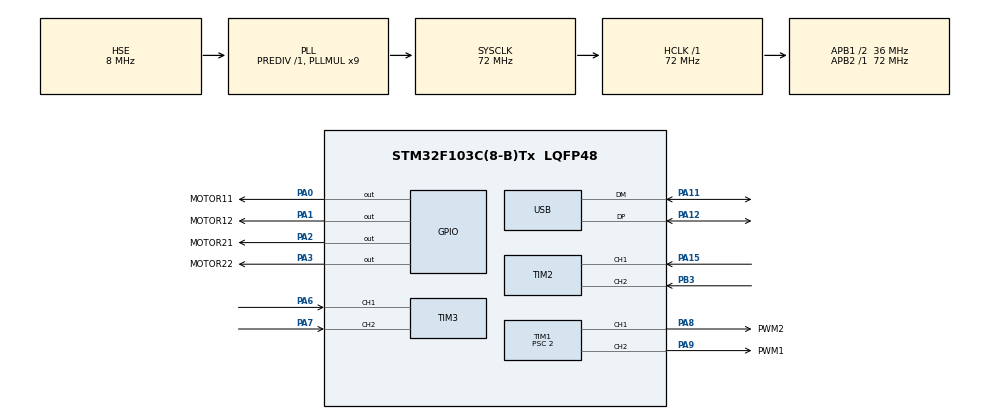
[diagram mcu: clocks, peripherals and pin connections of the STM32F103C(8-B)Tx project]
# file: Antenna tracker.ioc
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Mcu.Family=STM32F1
Mcu.Name=STM32F103C(8-B)Tx
Mcu.Package=LQFP48
NVIC.PriorityGroup=NVIC_PRIORITYGROUP_4
NVIC.RCC_IRQn=true\:0\:0\:false\:false\:true\:true\:false
NVIC.USB_LP_CAN1_RX0_IRQn=true\:0\:0\:false\:false\:true\:false\:true
PA0-WKUP.GPIO_Label=MOTOR11
PA0-WKUP.Signal=GPIO_Output
PA1.GPIO_Label=MOTOR12
PA1.Signal=GPIO_Output
PA11.Mode=Device
PA11.Signal=USB_DM
PA12.Mode=Device
PA12.Signal=USB_DP
PA13.Mode=Serial_Wire
PA13.Signal=SYS_JTMS-SWDIO
PA14.Mode=Serial_Wire
PA14.Signal=SYS_JTCK-SWCLK
PA15.Signal=S_TIM2_CH1_ETR
PA2.GPIO_Label=MOTOR21
PA2.Signal=GPIO_Output
PA3.GPIO_Label=MOTOR22
PA3.Signal=GPIO_Output
PA6.Signal=S_TIM3_CH1
PA7.Signal=S_TIM3_CH2
PA8.GPIO_Label=PWM2
PA8.Signal=S_TIM1_CH1
PA9.GPIO_Label=PWM1
PA9.Signal=S_TIM1_CH2
PB3.Signal=S_TIM2_CH2
PC14-OSC32_IN.Mode=LSE-External-Oscillator
PC14-OSC32_IN.Signal=RCC_OSC32_IN
PC15-OSC32_OUT.Mode=LSE-External-Oscillator
PC15-OSC32_OUT.Signal=RCC_OSC32_OUT
PD0-OSC_IN.Mode=HSE-External-Oscillator
PD0-OSC_IN.Signal=RCC_OSC_IN
PD1-OSC_OUT.Mode=HSE-External-Oscillator
PD1-OSC_OUT.Signal=RCC_OSC_OUT
ProjectManager.HeapSize=0x200
ProjectManager.StackSize=0x400
ProjectManager.TargetToolchain=STM32CubeIDE
RCC.AHBFreq_Value=72000000
RCC.APB1CLKDivider=RCC_HCLK_DIV2
RCC.APB1Freq_Value=36000000
RCC.APB1TimFreq_Value=72000000
RCC.APB2Freq_Value=72000000
RCC.APB2TimFreq_Value=72000000
RCC.HCLKFreq_Value=72000000
RCC.PLLMUL=RCC_PLL_MUL9
RCC.SYSCLKFreq_VALUE=72000000
RCC.SYSCLKSource=RCC_SYSCLKSOURCE_PLLCLK
RCC.USBFreq_Value=48000000
RCC.USBPrescaler=RCC_USBCLKSOURCE_PLL_DIV1_5
SH.S_TIM1_CH1.0=TIM1_CH1,PWM Generation1 CH1
SH.S_TIM1_CH2.0=TIM1_CH2,PWM Generation2 CH2
SH.S_TIM2_CH1_ETR.0=TIM2_CH1,Encoder_Interface
SH.S_TIM2_CH2.0=TIM2_CH2,Encoder_Interface
SH.S_TIM3_CH1.0=TIM3_CH1,Encoder_Interface
SH.S_TIM3_CH2.0=TIM3_CH2,Encoder_Interface
TIM1.Channel-PWM\ Generation1\ CH1=TIM_CHANNEL_1
TIM1.Channel-PWM\ Generation2\ CH2=TIM_CHANNEL_2
TIM1.Period=1000
TIM1.Prescaler=2
TIM2.AutoReloadPreload=TIM_AUTORELOAD_PRELOAD_DISABLE
TIM2.EncoderMode=TIM_ENCODERMODE_TI12
USB_DEVICE.CLASS_NAME_FS=CDC
USB_DEVICE.VirtualMode=Cdc
USB_DEVICE.VirtualModeFS=Cdc_FS
VP_TIM1_VS_ClockSourceINT.Mode=Internal
VP_USB_DEVICE_VS_USB_DEVICE_CDC_FS.Mode=CDC_FS
board=custom

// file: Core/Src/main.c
/* USER CODE BEGIN Header */
/**
  ******************************************************************************
  * @file           : main.c
  * @brief          : Main program body
  ******************************************************************************
  * @attention
  *
  * <h2><center>&copy; Copyright (c) 2020 STMicroelectronics.
  * All rights reserved.</center></h2>
  *
  * This software component is licensed by ST under BSD 3-Clause license,
  * the "License"; You may not use this file except in compliance with the
  * License. You may obtain a copy of the License at:
  *                        opensource.org/licenses/BSD-3-Clause
  *
  ******************************************************************************
  */
/* USER CODE END Header */

#include "main.h"
#include "tim.h"
#include "usb_device.h"
#include "gpio.h"

/* USER CODE BEGIN Includes */
#include "pid.h"
#include <math.h>

/* USER CODE END Includes */

/* USER CODE BEGIN PV */
uint8_t DataToSend[100]; // Tablica zawierajaca dane do wyslania
uint8_t MessageCounter = 0; // Licznik wyslanych wiadomosci
uint8_t MessageLength = 0; // Zawiera dlugosc wysylanej wiadomosci
uint8_t ReceivedData[100]; // Tablica przechowujaca odebrane dane
uint8_t ReceivedDataFlag = 0; // Flaga informujaca o odebraniu danych

volatile uint16_t pulse_count_azimuth; // Licznik impulsow
volatile uint16_t positions_azimuth; // Licznik przekreconych pozycji

volatile uint16_t pulse_count_height; // Licznik impulsow
volatile uint16_t positions_height; // Licznik przekreconych pozycji

cpid_t pid_azimuth;
cpid_t pid_height;
/* USER CODE END PV */

void SystemClock_Config(void);
/* USER CODE BEGIN PFP */

int _write(int file, char *ptr, int len){
    //HAL_UART_Transmit(&huart2, (uint8_t*)ptr, len, 50);
    CDC_Transmit_FS((uint8_t*)ptr, len);
    return len;
}

void parse(){
  	char header[1];
  	int32_t PWM1, PWM2, DIR1, DIR2;

  	sscanf(ReceivedData, "%s %d %d %d %d", &header, &PWM1, &PWM2, &DIR1, &DIR2);
  	if( header[0] == 'S' && PWM1 >= 0 && PWM1 < 65535 && PWM2 >= 0 && PWM2 < 65535 && (DIR1 == 1 || DIR1 == 0) && (DIR2 == 1 || DIR2 == 0) )
  	{
  		send_json(PWM1, PWM2);
  		__HAL_TIM_SET_COMPARE(&htim1, TIM_CHANNEL_1, PWM1 );
  		__HAL_TIM_SET_COMPARE(&htim1, TIM_CHANNEL_2, PWM2 );

  		if(DIR1 == 1){
  			HAL_GPIO_WritePin(MOTOR11_GPIO_Port, MOTOR11_Pin, GPIO_PIN_SET);
  			HAL_GPIO_WritePin(MOTOR12_GPIO_Port, MOTOR12_Pin, GPIO_PIN_RESET);
  		}

  		if(DIR1 == 0){
  			HAL_GPIO_WritePin(MOTOR11_GPIO_Port, MOTOR11_Pin, GPIO_PIN_RESET);
  			HAL_GPIO_WritePin(MOTOR12_GPIO_Port, MOTOR12_Pin, GPIO_PIN_SET);
  		}

  		if(DIR2 == 1){
  			HAL_GPIO_WritePin(MOTOR21_GPIO_Port, MOTOR21_Pin, GPIO_PIN_SET);
  			HAL_GPIO_WritePin(MOTOR22_GPIO_Port, MOTOR22_Pin, GPIO_PIN_RESET);
  		}

  		if(DIR2 == 0){
  			HAL_GPIO_WritePin(MOTOR21_GPIO_Port, MOTOR21_Pin, GPIO_PIN_RESET);
  			HAL_GPIO_WritePin(MOTOR22_GPIO_Port, MOTOR22_Pin, GPIO_PIN_SET);
  		}

  		if( PWM1 == 0 && PWM2 ==0 ){
  			HAL_GPIO_WritePin(MOTOR11_GPIO_Port, MOTOR11_Pin, GPIO_PIN_RESET);
  			HAL_GPIO_WritePin(MOTOR12_GPIO_Port, MOTOR12_Pin, GPIO_PIN_RESET);
  			HAL_GPIO_WritePin(MOTOR21_GPIO_Port, MOTOR21_Pin, GPIO_PIN_RESET);
  			HAL_GPIO_WritePin(MOTOR22_GPIO_Port, MOTOR22_Pin, GPIO_PIN_RESET);
  		}
  		send_json(PWM1, PWM2);

//	  	sprintf(DataToSend, "%d %d %d %d \r\n", PWM1, PWM2, DIR1, DIR2);
//	  	printf(DataToSend);
  	}else printf("error - zle dane \r\n");
}

void send_json(int32_t Encoder1, int32_t Encoder2){
	printf("{\"enkoder1\":%d,\"enkoder2\":%d}\r\n", Encoder1, Encoder2);
}

void send_json_ada(double azimuth, double altitude, double distance){
	printf("{\"azimuth\":%f,\"altitude\":%f,\"distance\":%f}\r\n", azimuth, altitude, distance);
}

void calc_azimuth(double Latitude1, double Longitude1, double Height1, double Latitude2, double Longitude2, double Height2, double *azimuth, double *distance, double *altitude){ //Latitude = φ Longitude = λ
	double delta_Latitude = Latitude2 - Latitude1;
	double delta_Longitude = Longitude2 - Longitude1;
	double delta_Height = Height2 - Height1;

	//θ = atan2 [(sin Δλ * cos φ₂), (cos φ�? * sin φ₂ �?� sin φ�? * cos φ₂ *  cos Δλ)]
	*azimuth = atan2( ( sin(delta_Longitude) * cos(Latitude2) ) , ( (cos(Latitude1) * sin(Latitude2)) - (sin(Latitude1) * cos(Latitude2) * cos(delta_Longitude)) ) ) * (180/ M_PI );
	//Haversine formula:
	//a = sin²(Δφ/2) + cos φ�? * cos φ₂ * sin²(Δλ/2)
	double a = pow( sin(delta_Latitude/2), 2.0 ) + cos(Latitude1) * cos(Latitude2) * pow(sin(delta_Longitude/2), 2.0);
	//c = 2 * atan2 [�?�a, �?�(1�?�a)]
	double c = 2.0 * atan2( sqrt(a), sqrt(1.0-a));
	//d = R * c, R = 6371 km - radius of the Earth
	double sphere_distance = 6371.0 * c; // in km

	*distance = sqrt( pow(sphere_distance, 2.0) + pow(delta_Height, 2.0));// in km
	*altitude = acos(sphere_distance/ *distance) * (180/M_PI);
}

void parse_loc(){
  	char header[1];
  	double Latitude1, Longitude1, Height1, Latitude2, Longitude2, Height2, azimuth, distance, altitude;

  	sscanf(ReceivedData, "%s %lf %lf %lf %lf %lf %lf", &header, &Latitude1, &Longitude1, &Height1, &Latitude2, &Longitude2, &Height2);
  	if( header[0] == 'G' )
  	{
  		//calc_azimuth( Latitude1,  Longitude1,  Height1,  Latitude2,  Longitude2,  Height2,  &azimuth,  &distance,  &altitude);
  		send_json_ada( azimuth, altitude, distance);

  	}else printf("error - zle dane \r\n");
}

/* USER CODE END PFP */

int main(void)
{

  /* MCU Configuration--------------------------------------------------------*/

  /* Reset of all peripherals, Initializes the Flash interface and the Systick. */
  HAL_Init();

  /* Configure the system clock */
  SystemClock_Config();

  /* Initialize all configured peripherals */
  MX_GPIO_Init();
  MX_TIM1_Init();
  MX_TIM2_Init();
  MX_TIM3_Init();
  MX_USB_DEVICE_Init();
  /* USER CODE BEGIN 2 */
  HAL_TIMEx_PWMN_Start(&htim1, TIM_CHANNEL_1);
  HAL_TIMEx_PWMN_Start(&htim1, TIM_CHANNEL_2);

  HAL_TIM_Encoder_Start(&htim2, TIM_CHANNEL_ALL);
  HAL_TIM_Encoder_Start(&htim3, TIM_CHANNEL_ALL);

  pid_init(&pid_azimuth, 150.0f, 50.0f, 0.005f, 10, 1);
  pid_azimuth.p_max = pid_scale(&pid_azimuth, 4095);
  pid_azimuth.p_min = pid_scale(&pid_azimuth, -4095);
  pid_azimuth.i_max = pid_scale(&pid_azimuth, 4095);
  pid_azimuth.i_min = pid_scale(&pid_azimuth, -4095);
  pid_azimuth.d_max = pid_scale(&pid_azimuth, 4095);
  pid_azimuth.d_min = pid_scale(&pid_azimuth, -4095);
  pid_azimuth.total_max = pid_scale(&pid_azimuth, 4095);
  pid_azimuth.total_min = pid_scale(&pid_azimuth, 0);

  pid_init(&pid_height, 150.0f, 50.0f, 0.005f, 10, 1);
  pid_height.p_max = pid_scale(&pid_height, 4095);
  pid_height.p_min = pid_scale(&pid_height, -4095);
  pid_height.i_max = pid_scale(&pid_height, 4095);
  pid_height.i_min = pid_scale(&pid_height, -4095);
  pid_height.d_max = pid_scale(&pid_height, 4095);
  pid_height.d_min = pid_scale(&pid_height, -4095);
  pid_height.total_max = pid_scale(&pid_height, 4095);
  pid_height.total_min = pid_scale(&pid_height, 0);

  //pwm_control = pid_calc(&pid, adc_value, pwm_value);

  /* USER CODE END 2 */

  /* Infinite loop */
  /* USER CODE BEGIN WHILE */
  __HAL_TIM_SET_COMPARE(&htim1, TIM_CHANNEL_1, 0);
    HAL_TIM_PWM_Start(&htim1, TIM_CHANNEL_1);

    __HAL_TIM_SET_COMPARE(&htim1, TIM_CHANNEL_2, 0);
      HAL_TIM_PWM_Start(&htim1, TIM_CHANNEL_2);

		HAL_GPIO_WritePin(MOTOR11_GPIO_Port, MOTOR11_Pin, GPIO_PIN_RESET);
		HAL_GPIO_WritePin(MOTOR12_GPIO_Port, MOTOR12_Pin, GPIO_PIN_RESET);
		HAL_GPIO_WritePin(MOTOR21_GPIO_Port, MOTOR21_Pin, GPIO_PIN_RESET);
		HAL_GPIO_WritePin(MOTOR22_GPIO_Port, MOTOR22_Pin, GPIO_PIN_RESET);
  while (1)
  {

		pulse_count_azimuth = TIM2->CNT; // przepisanie wartosci z rejestru timera
		positions_azimuth = pulse_count_azimuth/4;

		pulse_count_height = TIM2->CNT; // przepisanie wartosci z rejestru timera
		positions_height = pulse_count_height/4;

	  if(ReceivedDataFlag == 1){
	  	ReceivedDataFlag = 0;
	  	//parse();
	  	parse_loc();
	  }

//	  __HAL_TIM_SET_COMPARE(&htim1, TIM_CHANNEL_1, 65000);
//	  __HAL_TIM_SET_COMPARE(&htim1, TIM_CHANNEL_2, 65000);
//	  HAL_Delay(1000);
//	  __HAL_TIM_SET_COMPARE(&htim1, TIM_CHANNEL_1, 0);
//	  __HAL_TIM_SET_COMPARE(&htim1, TIM_CHANNEL_2, 0);
//	  HAL_Delay(1000);
    /* USER CODE END WHILE */

    /* USER CODE BEGIN 3 */
	  HAL_Delay(100);
  }
  /* USER CODE END 3 */
}

void SystemClock_Config(void)
{
  RCC_OscInitTypeDef RCC_OscInitStruct = {0};
  RCC_ClkInitTypeDef RCC_ClkInitStruct = {0};
  RCC_PeriphCLKInitTypeDef PeriphClkInit = {0};

  /** Initializes the CPU, AHB and APB busses clocks
  */
  RCC_OscInitStruct.OscillatorType = RCC_OSCILLATORTYPE_HSE;
  RCC_OscInitStruct.HSEState = RCC_HSE_ON;
  RCC_OscInitStruct.HSEPredivValue = RCC_HSE_PREDIV_DIV1;
  RCC_OscInitStruct.HSIState = RCC_HSI_ON;
  RCC_OscInitStruct.PLL.PLLState = RCC_PLL_ON;
  RCC_OscInitStruct.PLL.PLLSource = RCC_PLLSOURCE_HSE;
  RCC_OscInitStruct.PLL.PLLMUL = RCC_PLL_MUL9;
  if (HAL_RCC_OscConfig(&RCC_OscInitStruct) != HAL_OK)
  {
    Error_Handler();
  }
  /** Initializes the CPU, AHB and APB busses clocks
  */
  RCC_ClkInitStruct.ClockType = RCC_CLOCKTYPE_HCLK|RCC_CLOCKTYPE_SYSCLK
                              |RCC_CLOCKTYPE_PCLK1|RCC_CLOCKTYPE_PCLK2;
  RCC_ClkInitStruct.SYSCLKSource = RCC_SYSCLKSOURCE_PLLCLK;
  RCC_ClkInitStruct.AHBCLKDivider = RCC_SYSCLK_DIV1;
  RCC_ClkInitStruct.APB1CLKDivider = RCC_HCLK_DIV2;
  RCC_ClkInitStruct.APB2CLKDivider = RCC_HCLK_DIV1;

  if (HAL_RCC_ClockConfig(&RCC_ClkInitStruct, FLASH_LATENCY_2) != HAL_OK)
  {
    Error_Handler();
  }
  PeriphClkInit.PeriphClockSelection = RCC_PERIPHCLK_USB;
  PeriphClkInit.UsbClockSelection = RCC_USBCLKSOURCE_PLL_DIV1_5;
  if (HAL_RCCEx_PeriphCLKConfig(&PeriphClkInit) != HAL_OK)
  {
    Error_Handler();
  }
}

void Error_Handler(void)
{
}

/************************ (C) COPYRIGHT STMicroelectronics *****END OF FILE****/
